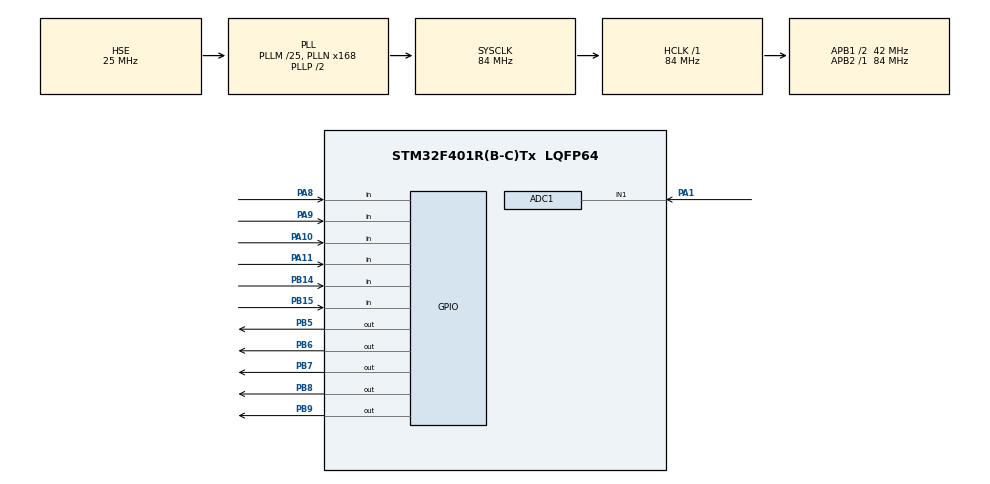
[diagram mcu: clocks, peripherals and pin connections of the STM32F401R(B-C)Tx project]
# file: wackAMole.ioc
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ADC1.Channel-0\#ChannelRegularConversion=ADC_CHANNEL_1
ADC1.NbrOfConversionFlag=1
ADC1.Rank-0\#ChannelRegularConversion=1
ADC1.SamplingTime-0\#ChannelRegularConversion=ADC_SAMPLETIME_3CYCLES
ADC1.master=1
Mcu.Family=STM32F4
Mcu.Name=STM32F401R(B-C)Tx
Mcu.Package=LQFP64
NVIC.PriorityGroup=NVIC_PRIORITYGROUP_4
PA1.Signal=ADCx_IN1
PA10.GPIO_PuPd=GPIO_PULLDOWN
PA10.Signal=GPIO_Input
PA11.GPIO_PuPd=GPIO_PULLDOWN
PA11.Signal=GPIO_Input
PA8.GPIO_PuPd=GPIO_PULLDOWN
PA8.Signal=GPIO_Input
PA9.GPIO_PuPd=GPIO_PULLDOWN
PA9.Signal=GPIO_Input
PB14.GPIO_PuPd=GPIO_PULLDOWN
PB14.Signal=GPIO_Input
PB15.GPIO_PuPd=GPIO_PULLDOWN
PB15.Signal=GPIO_Input
PB5.Signal=GPIO_Output
PB6.Signal=GPIO_Output
PB7.Signal=GPIO_Output
PB8.Signal=GPIO_Output
PB9.Signal=GPIO_Output
PH0\ -\ OSC_IN.Mode=HSE-External-Oscillator
PH0\ -\ OSC_IN.Signal=RCC_OSC_IN
PH1\ -\ OSC_OUT.Mode=HSE-External-Oscillator
PH1\ -\ OSC_OUT.Signal=RCC_OSC_OUT
ProjectManager.HeapSize=0x200
ProjectManager.StackSize=0x400
ProjectManager.TargetToolchain=STM32CubeIDE
RCC.48MHZClocksFreq_Value=42000000
RCC.AHBFreq_Value=84000000
RCC.APB1CLKDivider=RCC_HCLK_DIV2
RCC.APB1Freq_Value=42000000
RCC.APB1TimFreq_Value=84000000
RCC.APB2Freq_Value=84000000
RCC.APB2TimFreq_Value=84000000
RCC.CortexFreq_Value=84000000
RCC.HCLKFreq_Value=84000000
RCC.HSE_VALUE=25000000
RCC.HSI_VALUE=16000000
RCC.LSE_VALUE=32768
RCC.PLLM=25
RCC.PLLN=168
RCC.PLLSourceVirtual=RCC_PLLSOURCE_HSE
RCC.SYSCLKFreq_VALUE=84000000
RCC.SYSCLKSource=RCC_SYSCLKSOURCE_PLLCLK
RCC.VCOOutputFreq_Value=168000000
SH.ADCx_IN1.0=ADC1_IN1,IN1
board=custom

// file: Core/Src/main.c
/* USER CODE BEGIN Header */
/**
  ******************************************************************************
  * @file           : main.c
  * @brief          : Main program body
  ******************************************************************************
  * @attention
  *
  * Copyright (c) 2026 STMicroelectronics.
  * All rights reserved.
  *
  * This software is licensed under terms that can be found in the LICENSE file
  * in the root directory of this software component.
  * If no LICENSE file comes with this software, it is provided AS-IS.
  *
  ******************************************************************************
  */
/* USER CODE END Header */
#include "main.h"

/* USER CODE BEGIN Includes */
#include "stdbool.h"
#include "stdlib.h"
#include "stdint.h"
/* USER CODE END Includes */

/* USER CODE BEGIN PD */
#define NUM_LEDS 5

/* USER CODE END PD */

ADC_HandleTypeDef hadc1;

/* USER CODE BEGIN PV */

struct buttons{

	GPIO_TypeDef *port; // DEFINE PORT (GPIOA,GPIOB ETC)
		uint16_t pin; // DEFINE PIN(8,9,15 ETC)

		uint32_t prevDebounceTime_ms;
		GPIO_PinState currentState;   // latest raw reading
		GPIO_PinState stableState;    // last debounced state
};

struct LED{
	GPIO_TypeDef *port[2]; // DEFINE PORT (GPIOA,GPIOB ETC)
		uint16_t pin[5]; // DEFINE PIN(8,9,15 ETC)

		uint32_t prevTimeStamp_ms;
		uint32_t interval;
};

struct GAMELOGIC{
	uint32_t interval; // INTERVAL OF LED BEING ON/FF
	uint32_t prevTimeStamp_ms; // PREVIOUS TIME RECORDED IN MS (USUALLY RECORDED AFTER EVERY SPECIFIED INTERVAL HAS PASSED)
	GPIO_PinState state; // STATE OF LED (ON/OFF)
	bool pressed; // BOOL TO CHECK DEFINE IF USER PRESSED BUTTON OR NOT
	uint8_t win;
	uint8_t loss;
	uint8_t count; // COUNT NUMBER OF LEDS ON

	bool lit[5]; // ARRAY TO STORE WHAT LED WILL BE ON/OFF
};

/* USER CODE END PV */

void SystemClock_Config(void);
static void MX_GPIO_Init(void);
static void MX_ADC1_Init(void);
/* USER CODE BEGIN PFP */
void gameLogic(struct buttons *btn,struct GAMELOGIC *lgc,struct LED *led,uint32_t TimeStamp_ms); // MAIN LOGIC
GPIO_PinState debounce(struct buttons *btn);
bool checkButton(struct buttons *btn);
int startingFlicker(struct LED *led);
unsigned RNG(void);
void defineButton(struct buttons *button,GPIO_TypeDef *port,uint16_t pin);
uint16_t readPot(void);
uint32_t scaleTime(uint16_t pot, uint32_t easyMs, uint32_t hardMs);
void winAnim(struct LED *led);
void lossAnim(struct LED *led);
void defineLED(struct LED *led);
void defineLOGIC(struct GAMELOGIC *lgc);
bool resetGame(struct buttons *btn);
void RESET_L(struct GAMELOGIC *lgc,struct buttons *btn,struct LED *led);
/* USER CODE END PFP */

int main(void)
{

  /* MCU Configuration--------------------------------------------------------*/

  /* Reset of all peripherals, Initializes the Flash interface and the Systick. */
  HAL_Init();

  /* Configure the system clock */
  SystemClock_Config();

  /* Initialize all configured peripherals */
  MX_GPIO_Init();
  MX_ADC1_Init();
  /* USER CODE BEGIN 2 */
  int gameState = 0;

  // INITIALIZE STRUCTS
  struct buttons Buttons[NUM_LEDS];
  struct LED led;
  struct GAMELOGIC lgc;

  // CALL FUNCTIONS TO DEFINE STRUCT ELEMENTS
  defineLOGIC(&lgc);
  defineLED(&led);

  defineButton(&Buttons[0], GPIOA, GPIO_PIN_8);
  defineButton(&Buttons[1], GPIOB, GPIO_PIN_15);
  defineButton(&Buttons[2], GPIOB, GPIO_PIN_14);
  defineButton(&Buttons[3], GPIOA, GPIO_PIN_10);
  defineButton(&Buttons[4], GPIOA, GPIO_PIN_11);

  /* USER CODE END 2 */

  /* Infinite loop */
  /* USER CODE BEGIN WHILE */
  while (1)
  {

	  if(gameState == 0){ // IF GAME IS IN MENU PHASE

		  startingFlicker(&led); // MENU FLICKERING

		  if(HAL_GPIO_ReadPin(GPIOA,GPIO_PIN_9) == GPIO_PIN_SET){ // Check if user pressed start button
			  HAL_Delay(20);
			  	  gameState = 1; // CHANGE GAMESTATE TO PLAY (1)
	  	  }

	  }

	  if(gameState == 1){ // GAME IS IN PLAY

		  uint32_t TimeStamp_ms = HAL_GetTick(); // GET CURRENT TIME IN MS (NON BLOCKING)

			  gameLogic(Buttons,&lgc,&led,TimeStamp_ms); // CALL FUNCTION OF MAIN LOGIC

			if (lgc.loss > 5) { // IF X NUMBER OF LOSSES > WIN, CHANGE GAMESTATE TO LOSS (5)
				gameState = 2;
			}

			if (lgc.win > 10) { // IF X NUMBER OF WINS > LOSS, CHANGE GAMESTATE TO WIN (3)
				gameState = 3;
			}
	  }

	  if(gameState == 2){ // IF LOSS - PUT LOSS LED ANIMATION
		  lossAnim(&led);
		  if(resetGame(Buttons) == true){ // CHECK IF USER INPUTS A RESET
			  RESET_L(&lgc,Buttons,&led); // RESET ALL VALUES
			  gameState = 0; // BRING GAME BACK TO MENU
		  }
	  }

	  if(gameState == 3){
		  winAnim(&led);
		  if(resetGame(Buttons) == true){
			  	RESET_L(&lgc,Buttons,&led);
		  		gameState = 0;
		  		  }
	  }

    /* USER CODE END WHILE */

  }
}

void SystemClock_Config(void)
{
  RCC_OscInitTypeDef RCC_OscInitStruct = {0};
  RCC_ClkInitTypeDef RCC_ClkInitStruct = {0};

  /** Configure the main internal regulator output voltage
  */
  __HAL_RCC_PWR_CLK_ENABLE();
  __HAL_PWR_VOLTAGESCALING_CONFIG(PWR_REGULATOR_VOLTAGE_SCALE2);

  /** Initializes the RCC Oscillators according to the specified parameters
  * in the RCC_OscInitTypeDef structure.
  */
  RCC_OscInitStruct.OscillatorType = RCC_OSCILLATORTYPE_HSE;
  RCC_OscInitStruct.HSEState = RCC_HSE_ON;
  RCC_OscInitStruct.PLL.PLLState = RCC_PLL_ON;
  RCC_OscInitStruct.PLL.PLLSource = RCC_PLLSOURCE_HSE;
  RCC_OscInitStruct.PLL.PLLM = 25;
  RCC_OscInitStruct.PLL.PLLN = 168;
  RCC_OscInitStruct.PLL.PLLP = RCC_PLLP_DIV2;
  RCC_OscInitStruct.PLL.PLLQ = 4;
  if (HAL_RCC_OscConfig(&RCC_OscInitStruct) != HAL_OK)
  {
    Error_Handler();
  }

  /** Initializes the CPU, AHB and APB buses clocks
  */
  RCC_ClkInitStruct.ClockType = RCC_CLOCKTYPE_HCLK|RCC_CLOCKTYPE_SYSCLK
                              |RCC_CLOCKTYPE_PCLK1|RCC_CLOCKTYPE_PCLK2;
  RCC_ClkInitStruct.SYSCLKSource = RCC_SYSCLKSOURCE_PLLCLK;
  RCC_ClkInitStruct.AHBCLKDivider = RCC_SYSCLK_DIV1;
  RCC_ClkInitStruct.APB1CLKDivider = RCC_HCLK_DIV2;
  RCC_ClkInitStruct.APB2CLKDivider = RCC_HCLK_DIV1;

  if (HAL_RCC_ClockConfig(&RCC_ClkInitStruct, FLASH_LATENCY_2) != HAL_OK)
  {
    Error_Handler();
  }
}

static void MX_ADC1_Init(void)
{

  ADC_ChannelConfTypeDef sConfig = {0};

  /** Configure the global features of the ADC (Clock, Resolution, Data Alignment and number of conversion)
  */
  hadc1.Instance = ADC1;
  hadc1.Init.ClockPrescaler = ADC_CLOCK_SYNC_PCLK_DIV4;
  hadc1.Init.Resolution = ADC_RESOLUTION_12B;
  hadc1.Init.ScanConvMode = DISABLE;
  hadc1.Init.ContinuousConvMode = DISABLE;
  hadc1.Init.DiscontinuousConvMode = DISABLE;
  hadc1.Init.ExternalTrigConvEdge = ADC_EXTERNALTRIGCONVEDGE_NONE;
  hadc1.Init.ExternalTrigConv = ADC_SOFTWARE_START;
  hadc1.Init.DataAlign = ADC_DATAALIGN_RIGHT;
  hadc1.Init.NbrOfConversion = 1;
  hadc1.Init.DMAContinuousRequests = DISABLE;
  hadc1.Init.EOCSelection = ADC_EOC_SINGLE_CONV;
  if (HAL_ADC_Init(&hadc1) != HAL_OK)
  {
    Error_Handler();
  }

  /** Configure for the selected ADC regular channel its corresponding rank in the sequencer and its sample time.
  */
  sConfig.Channel = ADC_CHANNEL_1;
  sConfig.Rank = 1;
  sConfig.SamplingTime = ADC_SAMPLETIME_3CYCLES;
  if (HAL_ADC_ConfigChannel(&hadc1, &sConfig) != HAL_OK)
  {
    Error_Handler();
  }

}

static void MX_GPIO_Init(void)
{
  GPIO_InitTypeDef GPIO_InitStruct = {0};

  /* GPIO Ports Clock Enable */
  __HAL_RCC_GPIOH_CLK_ENABLE();
  __HAL_RCC_GPIOA_CLK_ENABLE();
  __HAL_RCC_GPIOB_CLK_ENABLE();

  /*Configure GPIO pin Output Level */
  HAL_GPIO_WritePin(GPIOB, GPIO_PIN_5|GPIO_PIN_6|GPIO_PIN_7|GPIO_PIN_8
                          |GPIO_PIN_9, GPIO_PIN_RESET);

  /*Configure GPIO pins : PB14 PB15 */
  GPIO_InitStruct.Pin = GPIO_PIN_14|GPIO_PIN_15;
  GPIO_InitStruct.Mode = GPIO_MODE_INPUT;
  GPIO_InitStruct.Pull = GPIO_PULLDOWN;
  HAL_GPIO_Init(GPIOB, &GPIO_InitStruct);

  /*Configure GPIO pins : PA8 PA9 PA10 PA11 */
  GPIO_InitStruct.Pin = GPIO_PIN_8|GPIO_PIN_9|GPIO_PIN_10|GPIO_PIN_11;
  GPIO_InitStruct.Mode = GPIO_MODE_INPUT;
  GPIO_InitStruct.Pull = GPIO_PULLDOWN;
  HAL_GPIO_Init(GPIOA, &GPIO_InitStruct);

  /*Configure GPIO pins : PB5 PB6 PB7 PB8
                           PB9 */
  GPIO_InitStruct.Pin = GPIO_PIN_5|GPIO_PIN_6|GPIO_PIN_7|GPIO_PIN_8
                          |GPIO_PIN_9;
  GPIO_InitStruct.Mode = GPIO_MODE_OUTPUT_PP;
  GPIO_InitStruct.Pull = GPIO_NOPULL;
  GPIO_InitStruct.Speed = GPIO_SPEED_FREQ_LOW;
  HAL_GPIO_Init(GPIOB, &GPIO_InitStruct);

}

/* USER CODE BEGIN 4 */

void gameLogic(struct buttons *btn,struct GAMELOGIC *lgc,struct LED *led,uint32_t TimeStamp_ms){

	uint8_t size = sizeof(lgc->lit)/sizeof(lgc->lit[0]);

	for(uint8_t i = 0;i < size;i++){ // INTERATE THROUGH ALL BUTTONS
	if(checkButton(&btn[i]) && lgc->lit[i] == true){ // CHECK IF BUTTON IS PRESSED AND AN LED IS ON
		HAL_GPIO_WritePin(GPIOB,led->pin[i], GPIO_PIN_RESET); // TURN OFF THAT LED
		lgc->lit[i] = false; // MAKE LED BOOL FALSE
		lgc->count--; // DECREMENT THE NUMBER OF LED'S ON
		}
	}

	if(TimeStamp_ms - lgc->prevTimeStamp_ms >= lgc->interval){ // IF THE TOTAL TIME PASSED IS GREATER THAN THE INTERVAL DEFINED
		lgc->prevTimeStamp_ms = TimeStamp_ms; // MARK THE NEW  (previous)TIMESTAMP BASED ON THE CURRENT TIMESTAMP

		uint16_t pot = readPot(); // CALL FUNCTION TO INTIALIZE AND READ THE POTIENTOMETER
		uint32_t onTime  = scaleTime(pot, 2000, 700);   // LEDs lit: 2 s (easy) to 0.5 s (hard)
		uint32_t offTime = scaleTime(pot, 1000, 350);

		if(lgc->state){ // IF STATE OF LED IS ON

			if (lgc->count == 0) { // IF NO LEDS ARE ON
						lgc->win += 1;
					} else { // IF AN LED WAS REMAINING, TURN IT OFF
						lgc->loss += 1;
					}

			lgc->pressed = false; // RESET BUTTON PRESS COUNTER BACK TO FALSE
			lgc->count = 0; // RESET NUMBER OF LED'S ON TO 0

			for(uint8_t i =0;i < size;i++){ // ITERATE THROUGH EACH LED AND TURN IT OFF
				lgc->lit[i] = false;
				HAL_GPIO_WritePin(GPIOB,led->pin[i],lgc->lit[i]);
					}
			lgc->state = 0; // RESET CURRENT STATE OF ROUND
			lgc->interval = offTime; //DEFINE THE INTERVAL BASED OFF OF THE OFFTIME FROM THE POTIENTOMETER

		}else{ // IF LED IS OFF

			for(uint8_t i = 0; i <size; i++){ // ITERATE FOR EVERY LED
				unsigned int flip = (RNG() % 2); // COINFLIP TO DECIDE WHICH LED WILL BE ON AND WHICH  WILL BE OFF

				if(flip == 0){ // IF 0, LED WILL REMAIN OFF
					lgc->lit[i] = false;
				}else{ // IF 1, LED WILL BE ON
					lgc->lit[i] = true;
					lgc->count++;
				}

				HAL_GPIO_WritePin(GPIOB,led->pin[i],lgc->lit[i]); // TURN ON LED BASED ON THE ARRAY OF BOOLS
			}

			lgc->state = 1; // MAKE STATE OF ROUND 1 (IN ACTION)
			lgc->interval = onTime; //DEFINE INTERVAL BASED ON THE ONTIME FROM POTIENTIOMETER

		}
	}

}

GPIO_PinState debounce(struct buttons *btn){

	GPIO_PinState reading = HAL_GPIO_ReadPin(btn->port, btn->pin); // READ THE CURRENT BUTTON

		if(reading != btn->currentState){ // IF THE PINSTATE OF READING IS NOT EQUAL TO THE CURRENT STATE
			btn->prevDebounceTime_ms = HAL_GetTick(); // CAPTURE THE EXACT TIMESTAMP IN MS
			btn->currentState = reading; // RE-VALUE CURRENTSTATE BASED ON THE CURRENT READING OF PIN STATE RIGHT NOW
		}

		if(HAL_GetTick() - btn->prevDebounceTime_ms > 50){ //IF THE DIFFERENCE BETWEEN ELAPSED TIME AND DEFINED DEBOUNCETIME SURPASSED 50MS
			btn->stableState = btn->currentState; // RE-VALUE THE RAW STATE BASED ON THE CURRENT STATE
		}

		return btn->stableState; // RETURN THE STABLE STATE
}

bool checkButton(struct buttons *btn){

	GPIO_PinState before = btn->stableState;
		GPIO_PinState after = debounce(btn);

		return (before == GPIO_PIN_RESET && after == GPIO_PIN_SET); // RETURN IF THE PREVIOUS READING WAS LOW AND THE CURRENT/AFTER WAS A HIGH
		// BASICALLY RETURN WHEN A FALLING EDGE IS DETECTED
}

uint16_t readPot(void){ // READ POTIENTIOMETER
	HAL_ADC_Start(&hadc1);
	HAL_ADC_PollForConversion(&hadc1, 10);
	uint16_t value = HAL_ADC_GetValue(&hadc1);   // 0 to 4095
	HAL_ADC_Stop(&hadc1);
	return value;
}

uint32_t scaleTime(uint16_t pot, uint32_t easyMs, uint32_t hardMs){
	return easyMs - ((easyMs - hardMs) * pot) / 4095; // DEFINE THE INTERVAL
}

void winAnim(struct LED *led){

	// all off first
	for(uint8_t i = 0; i < NUM_LEDS; i++){
		HAL_GPIO_WritePin(GPIOB, led->pin[i], GPIO_PIN_RESET);
	}

	// one by one, earlier ones stay on
	for(uint8_t i = 0; i < NUM_LEDS; i++){
		HAL_GPIO_WritePin(GPIOB, led->pin[i], GPIO_PIN_SET);
		HAL_Delay(300);
	}

	// blink once: all off, then all on, then all off
	for(uint8_t i = 0; i < NUM_LEDS; i++){
		HAL_GPIO_WritePin(GPIOB, led->pin[i], GPIO_PIN_RESET);
	}
	HAL_Delay(200);

	for(uint8_t i = 0; i < NUM_LEDS; i++){
		HAL_GPIO_WritePin(GPIOB, led->pin[i], GPIO_PIN_SET);
	}
	HAL_Delay(200);

	for(uint8_t i = 0; i < NUM_LEDS; i++){
		HAL_GPIO_WritePin(GPIOB, led->pin[i], GPIO_PIN_RESET);
	}
	HAL_Delay(300);
}

void lossAnim(struct LED *led){

	for(uint8_t i = 0; i < NUM_LEDS; i++){
		HAL_GPIO_WritePin(GPIOB, led->pin[i], GPIO_PIN_SET);
	}
	HAL_Delay(400);

	for(uint8_t i = 0; i < NUM_LEDS; i++){
		HAL_GPIO_WritePin(GPIOB, led->pin[i], GPIO_PIN_RESET);
	}
	HAL_Delay(400);
}

int startingFlicker(struct LED *led){
	GPIO_PinState state = 0;
	uint32_t TimeStamp_ms = HAL_GetTick();

	if(TimeStamp_ms - led->prevTimeStamp_ms >= led->interval){

		led->prevTimeStamp_ms = TimeStamp_ms;

			unsigned int random = (RNG() % 5);
			uint16_t currentpin = led->pin[random];

		if(HAL_GPIO_ReadPin(GPIOB, currentpin) == GPIO_PIN_SET){
			state = 0;
			led->interval = 500;
		}else{
			state = 1;
			led->interval = 2000;
		}
		HAL_GPIO_WritePin(GPIOB,currentpin,state);
	}

	return 0;
}

bool resetGame(struct buttons *btn){

	GPIO_PinState a = debounce(&btn[0]);
	GPIO_PinState b = debounce(&btn[2]);

		return (a == GPIO_PIN_SET && b == GPIO_PIN_SET); // RETURN IF BOTH BUTTONS HAVE BEEN PRESSED
}

unsigned RNG(void){
	static unsigned short lfsr = 0xACE1u;
	unsigned bit;

	 bit  = ((lfsr >> 0) ^ (lfsr >> 2) ^ (lfsr >> 3) ^ (lfsr >> 5) ) & 1;
	 return lfsr =  (lfsr >> 1) | (bit << 15);
// LINEAR FEEDBACK SHIFT REGISTER BASED RNG FUNCTION -- TAKEN FROM STACK OVERFLOW SINCE I WAS TOO LAZY TO CONFIGURE STM TO GET THE RNG
}

void RESET_L(struct GAMELOGIC *lgc,struct buttons *btn,struct LED *led){
	// RESET VALUES
		lgc->interval = 2000;
		lgc->prevTimeStamp_ms = 0;
		lgc->state = 0;
		lgc->pressed = false;
		lgc->win = 0;
		lgc->loss = 0;
		lgc->count = 0;

		for(uint8_t i = 0; i < NUM_LEDS; i++){
				lgc->lit[i] = false;
				HAL_GPIO_WritePin(GPIOB, led->pin[i], GPIO_PIN_RESET);
			}
}

void defineButton(struct buttons *button,GPIO_TypeDef *port,uint16_t pin){
		button->port = port;
		button->pin = pin;
		button->prevDebounceTime_ms = 0;
		button->currentState = GPIO_PIN_RESET;   // pull-down
		button->stableState = GPIO_PIN_RESET;	// pull-down

}

void defineLED(struct LED *led){
	led->port[0] = GPIOA;
	led->port[1] = GPIOB;

	led->pin[0] = GPIO_PIN_9; // FIRST BLUE LED
	led->pin[1] = GPIO_PIN_8; // SECOND WHITE LED
	led->pin[2] = GPIO_PIN_7; // THIRD RED LED
	led->pin[3] = GPIO_PIN_6; // FOURTH WHITE LED
	led->pin[4] = GPIO_PIN_5; // FIFTH BLUE LED

	led->prevTimeStamp_ms = 0;
	led->interval = 250;
}

void defineLOGIC(struct GAMELOGIC *lgc){
	// INITIALIZE AS 0
	lgc->interval = 2000; // INTERVAL -- CAN BE ANYTHING
	lgc->prevTimeStamp_ms = 0;
	lgc->state = 0;
	lgc->pressed = false;
	lgc->win = 0;
	lgc->loss = 0;
	lgc->count = 0;

	for(uint8_t i=0;i<5;i++){
		lgc->lit[i] = false;
	}

}

/* USER CODE END 4 */

void Error_Handler(void)
{
  __disable_irq();
  while (1)
  {
  }
}
